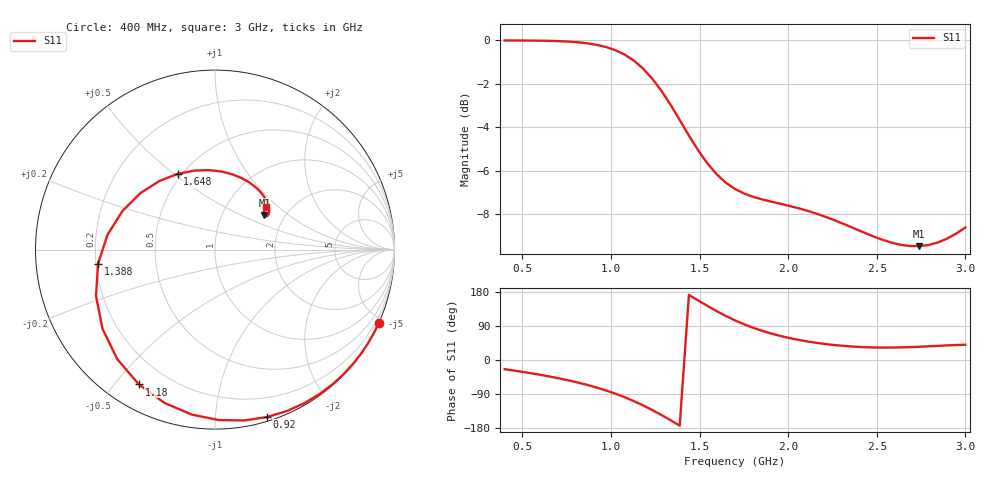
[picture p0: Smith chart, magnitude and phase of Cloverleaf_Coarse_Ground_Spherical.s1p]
! S-parameter export from POSTFEKO
! Filename: cloverleaf_coarse_ground_spherical
! Creation date: 2020-01-08 10:34:23
# Hz S MA R  1.0000000E+2
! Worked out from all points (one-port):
!   51 points, 400 MHz to 3 GHz, reference 100 ohm
!   lowest |S11| = -9.5 dB at 2.74 GHz (marker M1), VSWR 2.01, Z = 158 + j68.5 ohm
!   |S11| at or under -10 dB: nowhere
!   S11 on the Smith chart (normalised r, x): 400 MHz: 0.00, -4.66; 920 MHz: 0.03, -1.36; 1.18 GHz: 0.10, -0.58; 1.388 GHz: 0.21, -0.06; 1.648 GHz: 0.48, +0.52; 3 GHz: 1.51, +0.84
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4e8  0.9999 -24.2
6.08e8  0.9986 -39.6
7.64e8  0.9936 -54.1
8.68e8  0.9847 -65.9
9.2e8  0.9769 -72.8
1.024e9  0.95 -88.7
1.076e9  0.9283 -98.0
1.128e9  0.8994 -108.2
1.18e9  0.8626 -119.5
1.232e9  0.8179 -131.7
1.284e9  0.7666 -144.8
1.336e9  0.7114 -158.7
1.388e9  0.656 -173.2
1.44e9  0.604 172.0
1.492e9  0.5586 157.3
1.544e9  0.5212 142.8
1.596e9  0.4921 129.1
1.648e9  0.4705 116.3
1.7e9  0.455 104.6
1.856e9  0.4302 76.6
1.96e9  0.4203 63.0
2.064e9  0.4102 52.6
2.22e9  0.3912 41.6
2.376e9  0.3687 35.1
2.532e9  0.3476 32.8
2.688e9  0.3362 34.0
2.74e9  0.336 35.0
3e9  0.3709 40.3
